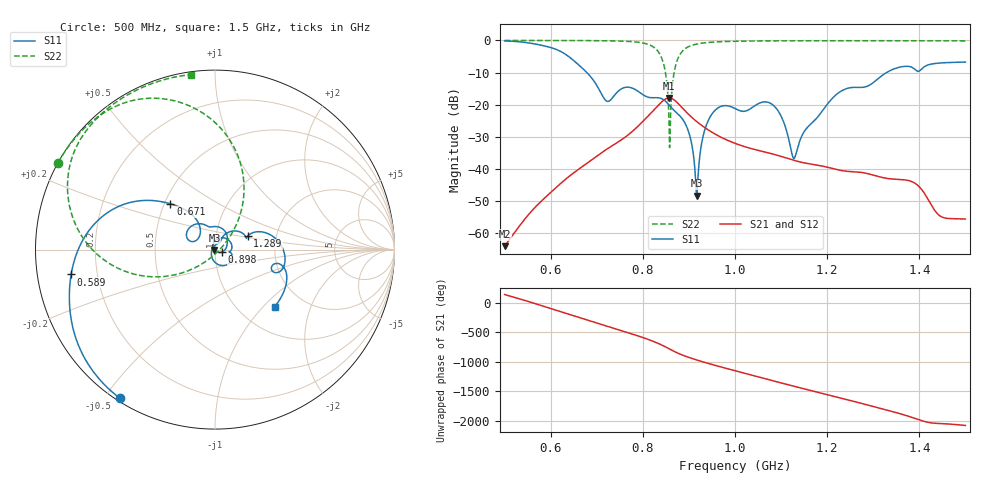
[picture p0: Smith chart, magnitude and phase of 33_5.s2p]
! TOUCHSTONE file generated by CST MICROWAVE STUDIO
! Date and time: Fri Oct  2 19:15:49 2020
! Project name: Scenario_1_Free_Space_out_of_line.cst
! Parameters = {Lambda=346.42; Step_1=17.321; dy1=-207.272; dx1=866; L_HA=400; MT=2.54; Rad_Dielectric=30; Rad_Lower=7.3; Rad_Upper=30; a_HA=580; a_WG=246; b_HA=500; b_WG=121; c_HA=0; c_WG=187; d_feed=85; h_feed=15; h_lower=18; h_upper=40}
! Header version: 2018
! Port assignment regex: !\s*Touchstone port\s*([0-9]+)\s*=\s*(CST MWS port|CST DS port)\s*([0-9]+|Zmin|Zmax)\s*\(\"(.*)\"\)(\s*mode\s*([0-9]+))?.*
! Touchstone port assignment:
! Touchstone port 1 = CST MWS port 1 ("")
! Touchstone port 2 = CST MWS port 2 ("")
# GHz S DB R 50
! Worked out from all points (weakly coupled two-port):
!   1003 points, 500 MHz to 1.5 GHz, reference 50 ohm
!   highest |S21| = -17.91 dB at 857 MHz (marker M1); lowest = -64.1 dB at 500 MHz (marker M2)
!   lowest |S11| = -48.3 dB at 917 MHz (marker M3), VSWR 1.01, Z = 49.7 - j0.219 ohm
!   |S11| at or under -10 dB: 678.4 MHz to 1.329 GHz (650.4 MHz wide, 64.8 % of centre)
!   |S22| runs from -33.4 to 0.0 dB; largest |S21 - S12| = 1.7e-05
!   S11 on the Smith chart (normalised r, x): 500 MHz: 0.01, -0.55; 589 MHz: 0.10, -0.08; 671 MHz: 0.54, +0.31; 898 MHz: 1.08, -0.03; 1.289 GHz: 1.42, +0.22; 1.5 GHz: 1.44, -1.16
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0.5  -0.15 -122.6  -64.06 139.9  -64.06 139.9  -0.01 151.1
0.589  -1.79 -170.2  -48.78 -69.8  -48.78 -69.8  -0.02 144.9
0.667  -8.43 136.3  -39.46 99.0  -39.46 99.0  -0.04 138.2
0.671  -8.96 134.2  -39.05 89.3  -39.05 89.3  -0.05 137.8
0.722  -18.94 141.6  -33.84 -35.7  -33.84 -35.7  -0.11 131.8
0.765  -14.56 142.9  -29.76 -139.8  -29.76 -139.8  -0.27 124.1
0.834  -17.86 83.1  -20.11 30.9  -20.11 30.9  -3.61 85.9
0.847  -18.67 61.7  -18.43 -17.0  -18.43 -17.0  -8.51 64.4
0.857  -20.13 45.7  -17.91 -57.9  -17.91 -57.9  -26.01 25.5
0.873  -22.48 25.4  -19.13 -121.4  -19.13 -121.4  -6.88 -161.8
0.898  -27.91 -20.1  -22.83 160.8  -22.83 160.8  -2.02 169.5
0.917  -48.32 -145.0  -25.28 112.2  -25.28 112.2  -1.13 159.1
0.93  -30.29 108.7  -26.70 81.4  -26.70 81.4  -0.82 154.3
0.945  -24.08 75.8  -28.15 47.4  -28.15 47.4  -0.60 150.1
1  -21.20 -4.9  -32.04 -69.3  -32.04 -69.3  -0.26 140.1
1.082  -20.06 -63.4  -35.37 121.6  -35.37 121.6  -0.14 131.2
1.128  -36.75 149.9  -37.35 27.7  -37.35 27.7  -0.11 127.2
1.167  -25.74 56.3  -38.55 -48.6  -38.55 -48.6  -0.09 124.1
1.227  -16.08 41.3  -40.41 -168.3  -40.41 -168.3  -0.09 119.5
1.289  -14.14 22.4  -41.52 66.2  -41.52 66.2  -0.09 114.8
1.334  -9.58 12.6  -43.04 -25.1  -43.04 -25.1  -0.09 111.4
1.5  -6.74 -43.9  -55.61 84.2  -55.56 83.7  -0.14 97.8
